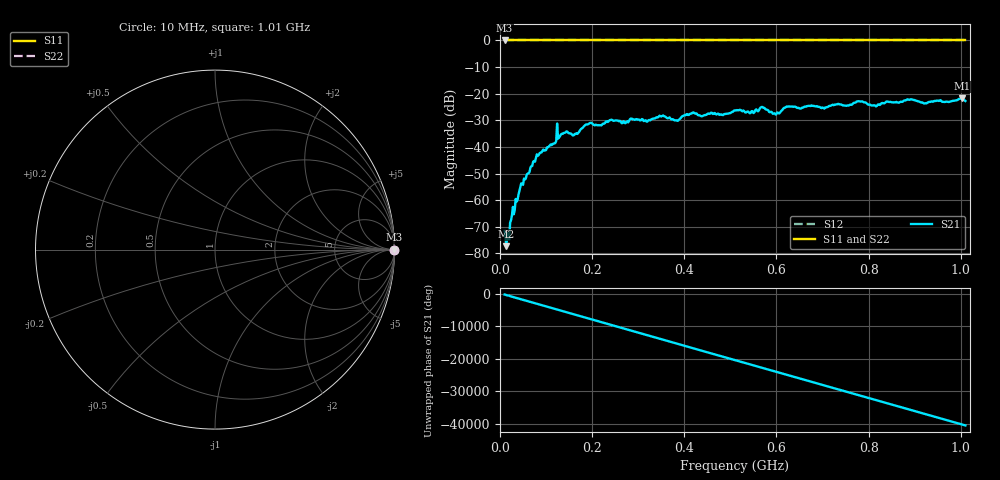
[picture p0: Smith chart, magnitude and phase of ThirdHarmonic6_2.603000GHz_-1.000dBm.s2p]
! 8/17/2025 5:39:07 AM
! C:\ANRITSUVNA\TEMP\TEMP.S2P
! CHANNEL.1
! TR.MEASUREMENT
! RAW.DATA
! RF.CORRECTION.OFF
! AVERAGING.OFF
! IF.BANDWIDTH: 5KHZ
! SWEEPTYPE:  FREQ.SWEEP(Linear)
! Reference Plane Port Info
! PORT:  PORT1  PORT2
! DISTANCE:  0  m  0  m
! TIME:  0  s  0  s
! PHASE.OFFSET:  0  deg.  0  deg.
! LOSS:  0  dB  0  dB
! REF.LOSS:  0  dB  0  dB
! REF.FREQ:  0  Hz  0  Hz
! Power Info
! POWER:  -20  dBm  -20  dBm
! EFF.POWER:  -20  dBm  -20  dBm
! SOURCE.ATTEN:  0  dB  0  dB
! TEST.ATTEN:  0  dB  0  dB
# GHZ S RI R 50.0
! FREQ.GHZ  S11RE  S11IM  S21RE  S21IM  S12RE  S12IM  S22RE  S22IM
!; PortSelection: Port_12
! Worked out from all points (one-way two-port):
!   501 points, 10 MHz to 1.01 GHz, reference 50 ohm
!   highest |S21| = -21.68 dB at 1.002 GHz (marker M1); lowest = -77.3 dB at 14 MHz (marker M2)
!   lowest |S11| = 0.0 dB at 10 MHz (marker M3)
!   |S11| at or under -10 dB: nowhere
!   |S22| runs from 0.0 to 0.0 dB; largest |S21 - S12| = 1.1
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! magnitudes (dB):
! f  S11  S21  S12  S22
! 10 MHz  0.0  -71.5  0.0  0.0
! 14 MHz  0.0  -77.3  0.0  0.0
! 16 MHz  0.0  -72.5  0.0  0.0
! 26 MHz  0.0  -65.6  0.0  0.0
! 44 MHz  0.0  -55.1  0.0  0.0
! 82 MHz  0.0  -43.4  0.0  0.0
! 118 MHz  0.0  -38.7  0.0  0.0
! 128 MHz  0.0  -36.5  0.0  0.0
! 160 MHz  0.0  -35.6  0.0  0.0
! 178 MHz  0.0  -33.0  0.0  0.0
! 240 MHz  0.0  -29.9  0.0  0.0
! 344 MHz  0.0  -28.7  0.0  0.0
! 384 MHz  0.0  -30.1  0.0  0.0
! 416 MHz  0.0  -27.5  0.0  0.0
! 510 MHz  0.0  -26.3  0.0  0.0
! 570 MHz  0.0  -25.0  0.0  0.0
! 596 MHz  0.0  -27.4  0.0  0.0
! 624 MHz  0.0  -24.9  0.0  0.0
! 678 MHz  0.0  -24.5  0.0  0.0
! 844 MHz  0.0  -23.1  0.0  0.0
! 1.002 GHz  0.0  -21.7  0.0  0.0
! 1.01 GHz  0.0  -22.8  0.0  0.0
